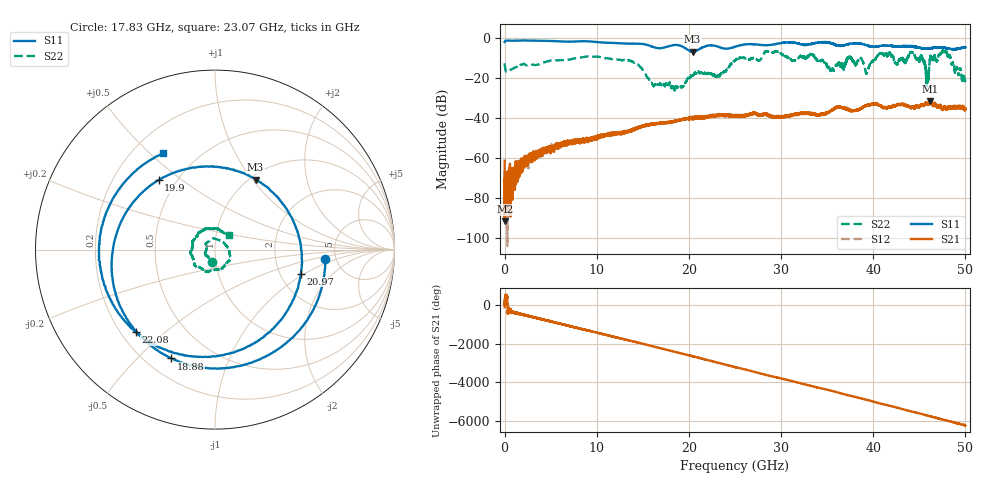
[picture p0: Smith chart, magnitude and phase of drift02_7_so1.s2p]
!Created with skrf (http://scikit-rf.org).
# Hz S RI R 50.0
!freq ReS11 ImS11 ReS21 ImS21 ReS12 ImS12 ReS22 ImS22
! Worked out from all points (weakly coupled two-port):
!   10001 points, 300 kHz to 50 GHz, reference 50 ohm
!   highest |S21| = -31.68 dB at 46.18 GHz (marker M1); lowest = -91.8 dB at 5.3 MHz (marker M2)
!   lowest |S11| = -6.9 dB at 20.39 GHz (marker M3), VSWR 2.64, Z = 53.1 + j51.9 ohm
!   |S11| at or under -10 dB: nowhere
!   |S22| runs from -26.4 to -6.2 dB; largest |S21 - S12| = 0.0034
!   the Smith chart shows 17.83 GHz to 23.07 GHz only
!   S11 on the Smith chart (normalised r, x): 17.83 GHz: 4.09, -0.70; 18.88 GHz: 0.30, -0.63; 19.9 GHz: 0.40, +0.41; 20.97 GHz: 2.60, -0.93; 22.08 GHz: 0.26, -0.40; 23.07 GHz: 0.32, +0.55
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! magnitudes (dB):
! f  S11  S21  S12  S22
! 300 kHz  -2.1  -61.5  -66.8  -12.8
! 5.3 MHz  -2.1  -91.8  -75.0  -13.3
! 265.3 MHz  -1.4  -74.5  -73.2  -17.0
! 2.89 GHz  -1.4  -58.5  -58.7  -13.6
! 8.335 GHz  -1.7  -51.0  -51.2  -9.8
! 13.7 GHz  -2.9  -46.2  -46.3  -11.6
! 16.67 GHz  -5.2  -43.0  -42.9  -23.4
! 17.83 GHz  -4.2  -42.5  -42.1  -23.2
! 18.88 GHz  -3.7  -41.5  -41.4  -24.5
! 19.9 GHz  -6.0  -40.3  -40.5  -20.1
! 20.39 GHz  -6.9  -40.8  -40.1  -18.9
! 20.97 GHz  -6.1  -40.0  -39.6  -16.9
! 22.08 GHz  -3.9  -39.5  -40.0  -17.6
! 23.07 GHz  -4.3  -38.9  -39.0  -19.1
! 25 GHz  -4.5  -39.2  -39.1  -11.4
! 33.34 GHz  -3.0  -38.1  -37.9  -8.3
! 39.31 GHz  -3.8  -33.8  -33.8  -17.4
! 41.67 GHz  -4.0  -34.7  -34.7  -8.0
! 45.85 GHz  -5.5  -32.9  -33.0  -21.7
! 46.18 GHz  -5.3  -31.7  -31.7  -9.9
! 47.75 GHz  -5.0  -34.5  -34.6  -6.8
! 50 GHz  -4.8  -35.5  -35.7  -20.1
